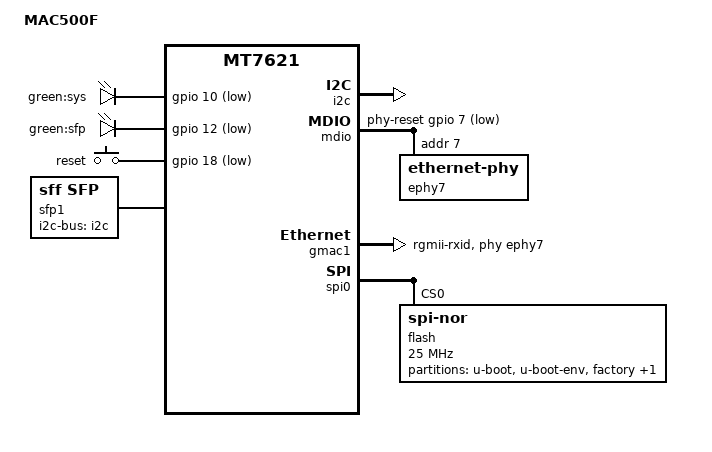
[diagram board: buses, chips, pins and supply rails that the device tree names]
// SPDX-License-Identifier: GPL-2.0-or-later OR MIT
/dts-v1/;

#include "mt7621.dtsi"

#include <dt-bindings/gpio/gpio.h>
#include <dt-bindings/input/input.h>

/ {
	compatible = "xwrt,mac500f", "mediatek,mt7621-soc";
	model = "MAC500F";

	aliases {
		led-boot = &led_sys;
		led-failsafe = &led_sys;
		led-running = &led_sys;
		led-upgrade = &led_sys;
		label-mac-device = &gmac0;
	};

	chosen {
		bootargs = "console=ttyS0,57600";
	};

	leds {
		compatible = "gpio-leds";

		led_sys: sys {
			label = "green:sys";
			gpios = <&gpio 10 GPIO_ACTIVE_LOW>;
		};
		sfp {
			label = "green:sfp";
			gpios = <&gpio 12 GPIO_ACTIVE_LOW>;
		};
	};

	keys {
		compatible = "gpio-keys";

		reset {
			label = "reset";
			gpios = <&gpio 18 GPIO_ACTIVE_LOW>;
			linux,code = <KEY_RESTART>;
		};
	};

	sfp1: sfp1 {
		compatible = "sff,sfp";
		i2c-bus = <&i2c>;
		maximum-power-milliwatt = <1000>;
	};
};

&gdma {
	status = "okay";
};

&hsdma {
	status = "okay";
};

&gmac0 {
	nvmem-cells = <&macaddr_factory_22>;
	nvmem-cell-names = "mac-address";
};

&i2c {
	status = "okay";
};

&mdio {
	phy-reset-gpios = <&gpio 7 GPIO_ACTIVE_LOW>;
	phy-reset-duration = <30>;

	ephy7: ethernet-phy@7 {
		reg = <7>;
		sfp = <&sfp1>;
		//interrupt-parent = <&gpio>;
		//interrupts = <8 IRQ_TYPE_LEVEL_LOW>;
		//reset-assert-us = <10000>;
		//reset-deassert-us = <30000>;
		//reset-gpios = <&gpio 7 GPIO_ACTIVE_LOW>;
		mode-fiber; /* mode-copper or mode-fiber */
	};
};

&gmac1 {
	status = "okay";

	label = "sfp";
	phy-handle = <&ephy7>;
	phy-mode = "rgmii-rxid";
	nvmem-cells = <&macaddr_factory_22>;
	nvmem-cell-names = "mac-address";
	mac-address-increment = <5>;

	/*
	fixed-link {
		speed = <1000>;
		full-duplex;
		pause;
	};*/
};

&ethernet {
	pinctrl-names = "default";
	pinctrl-0 = <&rgmii1_pins &rgmii2_pins &mdio_pins>;
};

&switch0 {
	ports {
		port@0 {
			status = "okay";
			label = "lan1";
		};

		port@1 {
			status = "okay";
			label = "lan2";
		};

		port@2 {
			status = "okay";
			label = "lan3";
		};

		port@3 {
			status = "okay";
			label = "lan4";
		};

		port@4 {
			status = "okay";
			label = "wan";
			nvmem-cells = <&macaddr_factory_22>;
			nvmem-cell-names = "mac-address";
		};
	};
};

&state_default {
	gpio {
		groups = "uart2", "uart3", "wdt";
		function = "gpio";
	};
};

&spi0 {
	status = "okay";

	flash@0 {
		compatible = "jedec,spi-nor";
		reg = <0>;
		spi-max-frequency = <25000000>;

		partitions {
			compatible = "fixed-partitions";
			#address-cells = <1>;
			#size-cells = <1>;

			partition@0 {
				label = "u-boot";
				reg = <0x0 0x30000>;
				read-only;
			};

			partition@30000 {
				label = "u-boot-env";
				reg = <0x30000 0x10000>;
				read-only;
			};

			factory: partition@40000 {
				label = "factory";
				reg = <0x40000 0x10000>;
				read-only;
			};

			partition@50000 {
				compatible = "denx,uimage";
				label = "firmware";
				reg = <0x50000 0xfb0000>;
			};
		};
	};
};

&factory {
	compatible = "nvmem-cells";
	#address-cells = <1>;
	#size-cells = <1>;

	macaddr_factory_22: macaddr@22 {
		reg = <0x22 0x6>;
	};
};
